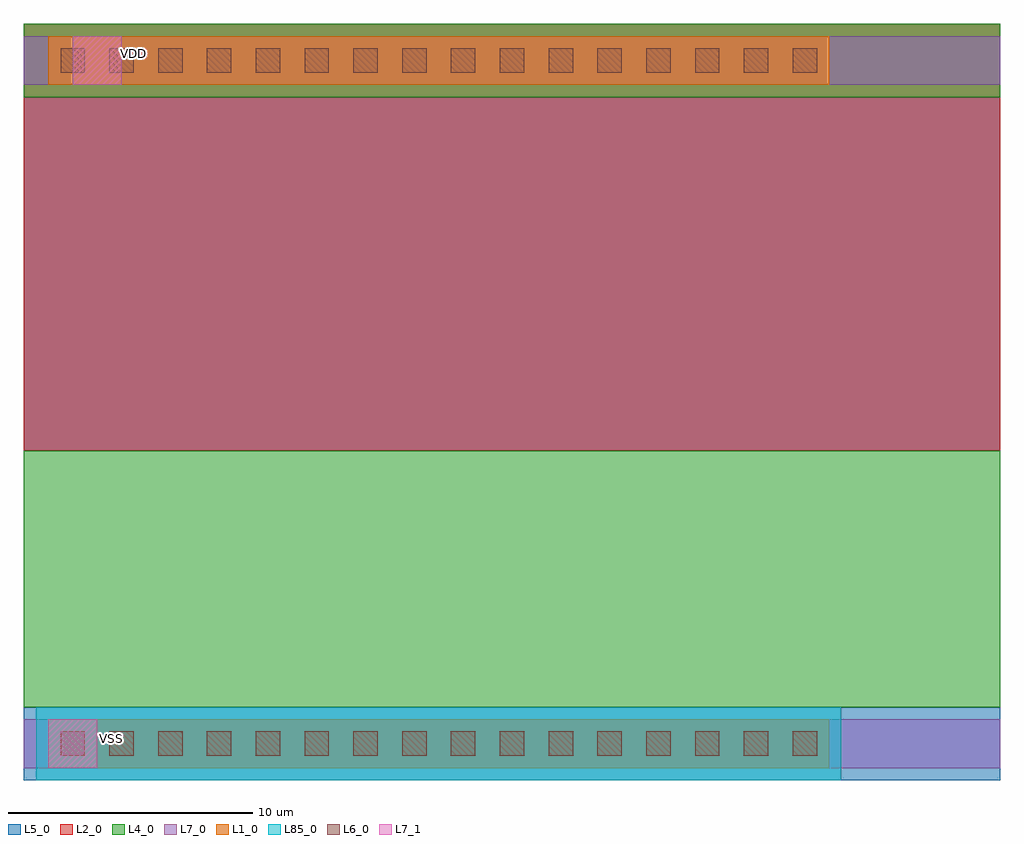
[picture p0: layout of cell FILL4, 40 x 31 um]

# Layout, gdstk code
import gdstk
lib = gdstk.Library(unit=1e-6, precision=5e-10)
def R(c, l, rs):  # rectangles x0, y0, x1, y1
    for r in rs: c.add(gdstk.rectangle(r[:2], r[2:], *l))
def A(c, l, x, y, w, h, nx, ny, dx, dy):  # array of equal rectangles
    R(c, l, [(x+i*dx, y+j*dy, x+i*dx+w, y+j*dy+h) for i in range(nx) for j in range(ny)])
L1_0 = (1, 0)
L2_0 = (2, 0)
L4_0 = (4, 0)
L5_0 = (5, 0)
L6_0 = (6, 0)
L7_0 = (7, 0)
L7_1 = (7, 1)
L85_0 = (85, 0)

m1_psub_cdns_1 = lib.new_cell('M1_PSUB_CDNS_1')
R(m1_psub_cdns_1, L1_0, [(-16,-1,16,1)])
R(m1_psub_cdns_1, L5_0, [(-16.5,-1.5,16.5,1.5)])
A(m1_psub_cdns_1, L6_0, -15.5, -0.5, 1, 1, 16, 1, 2, 0)
R(m1_psub_cdns_1, L7_0, [(-16,-1,16,1)])
R(m1_psub_cdns_1, L85_0, [(-16.5,-1.5,16.5,1.5)])

m1_nwell_cdns_2 = lib.new_cell('M1_NWELL_CDNS_2')
R(m1_nwell_cdns_2, L1_0, [(-16,-1,16,1)])
R(m1_nwell_cdns_2, L2_0, [(-16.5,-1.5,16.5,1.5)])
R(m1_nwell_cdns_2, L4_0, [(-16.5,-1.5,16.5,1.5)])
A(m1_nwell_cdns_2, L6_0, -15.5, -0.5, 1, 1, 16, 1, 2, 0)
R(m1_nwell_cdns_2, L7_0, [(-16,-1,16,1)])

fill4 = lib.new_cell('FILL4')
R(fill4, L2_0, [(0,12,40,29.5)])
R(fill4, L4_0, [(0,1.5,40,12), (0,26.5,40,29.5)])
R(fill4, L5_0, [(0,-1.5,40,1.5), (0,12,40,26.5)])
R(fill4, L7_0, [(0,-1,40,1), (0,27,40,29)])
R(fill4, L7_1, [(1,-1,3,1), (2,27,4,29)])
fill4.add(gdstk.Reference(m1_psub_cdns_1, (17,0)))
fill4.add(gdstk.Reference(m1_nwell_cdns_2, (17,28)))
fill4.add(gdstk.Label('VSS', (3.6,0.2), layer=7, texttype=3))
fill4.add(gdstk.Label('VDD', (4.5,28.3), layer=7, texttype=3))

lib.write_gds('FILL4.gds')
